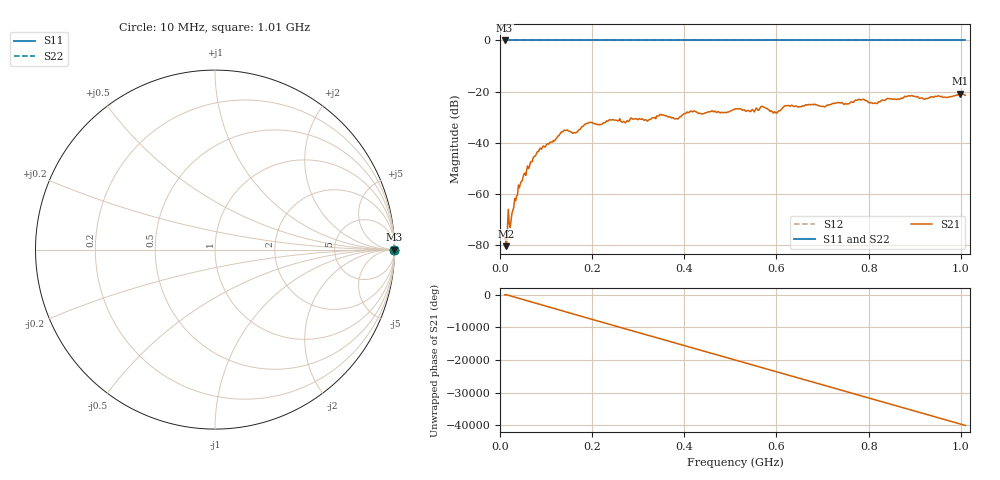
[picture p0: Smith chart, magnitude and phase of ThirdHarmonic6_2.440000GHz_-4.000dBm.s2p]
! 8/17/2025 4:17:07 AM
! C:\ANRITSUVNA\TEMP\TEMP.S2P
! CHANNEL.1
! TR.MEASUREMENT
! RAW.DATA
! RF.CORRECTION.OFF
! AVERAGING.OFF
! IF.BANDWIDTH: 5KHZ
! SWEEPTYPE:  FREQ.SWEEP(Linear)
! Reference Plane Port Info
! PORT:  PORT1  PORT2
! DISTANCE:  0  m  0  m
! TIME:  0  s  0  s
! PHASE.OFFSET:  0  deg.  0  deg.
! LOSS:  0  dB  0  dB
! REF.LOSS:  0  dB  0  dB
! REF.FREQ:  0  Hz  0  Hz
! Power Info
! POWER:  -20  dBm  -20  dBm
! EFF.POWER:  -20  dBm  -20  dBm
! SOURCE.ATTEN:  0  dB  0  dB
! TEST.ATTEN:  0  dB  0  dB
# GHZ S RI R 50.0
! FREQ.GHZ  S11RE  S11IM  S21RE  S21IM  S12RE  S12IM  S22RE  S22IM
!; PortSelection: Port_12
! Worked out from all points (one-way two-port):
!   501 points, 10 MHz to 1.01 GHz, reference 50 ohm
!   highest |S21| = -20.75 dB at 998 MHz (marker M1); lowest = -80.4 dB at 14 MHz (marker M2)
!   lowest |S11| = 0.0 dB at 10 MHz (marker M3)
!   |S11| at or under -10 dB: nowhere
!   |S22| runs from 0.0 to 0.0 dB; largest |S21 - S12| = 1.1
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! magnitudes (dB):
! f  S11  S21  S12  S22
! 10 MHz  0.0  -76.9  0.0  0.0
! 14 MHz  0.0  -80.4  0.0  0.0
! 44 MHz  0.0  -56.1  0.0  0.0
! 76 MHz  0.0  -45.2  0.0  0.0
! 136 MHz  0.0  -35.7  0.0  0.0
! 162 MHz  0.0  -36.1  0.0  0.0
! 178 MHz  0.0  -33.7  0.0  0.0
! 194 MHz  0.0  -32.1  0.0  0.0
! 322 MHz  0.0  -31.2  0.0  0.0
! 344 MHz  0.0  -29.5  0.0  0.0
! 382 MHz  0.0  -30.6  0.0  0.0
! 416 MHz  0.0  -27.8  0.0  0.0
! 510 MHz  0.0  -26.8  0.0  0.0
! 570 MHz  0.0  -25.8  0.0  0.0
! 598 MHz  0.0  -28.2  0.0  0.0
! 622 MHz  0.0  -25.5  0.0  0.0
! 678 MHz  0.0  -25.0  0.0  0.0
! 784 MHz  0.0  -23.2  0.0  0.0
! 814 MHz  0.0  -24.4  0.0  0.0
! 844 MHz  0.0  -22.8  0.0  0.0
! 998 MHz  0.0  -20.8  0.0  0.0
! 1.01 GHz  0.0  -21.4  0.0  0.0
